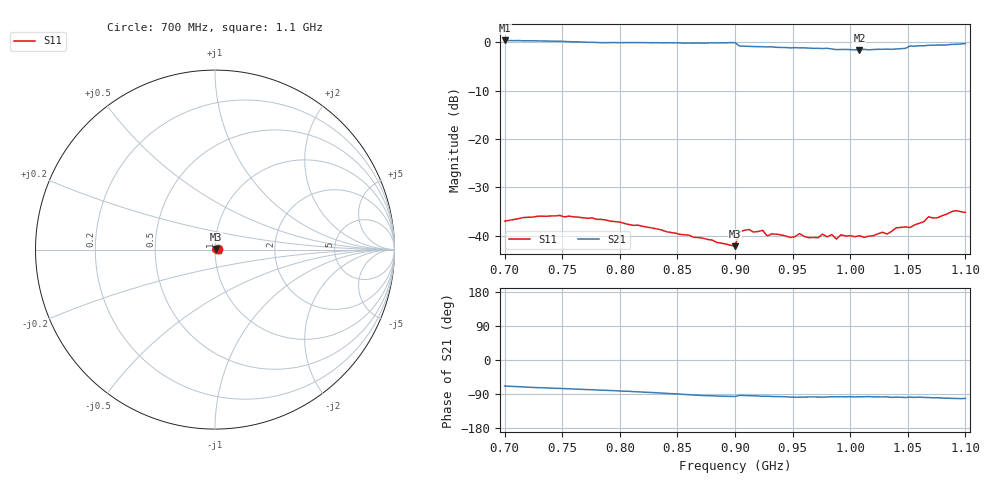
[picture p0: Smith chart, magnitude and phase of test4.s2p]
# HZ S RI R 50
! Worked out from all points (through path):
!   101 points, 700 MHz to 1.1 GHz, reference 50 ohm
!   highest |S21| = 0.42 dB at 700 MHz (marker M1); lowest = -1.5 dB at 1.008 GHz (marker M2)
!   group delay of S21, straight-line fit = 217 ps
!   lowest |S11| = -42.2 dB at 900 MHz (marker M3), VSWR 1.02, Z = 50.7 + j0.346 ohm
!   |S11| at or under -10 dB: start of sweep to end of sweep
!   S12 and S22 are empty: the file has one direction only
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7e8  0.014 0.00185  0.3816 -0.9771  0 0  0 0
7.32e8  0.0117 -0.0109  0.2993 -0.9923  0 0  0 0
7.68e8  -0.00147 -0.0152  0.2169 -0.9858  0 0  0 0
8.36e8  -0.0102 0.00528  0.0475 -0.9909  0 0  0 0
9e8  0.00699 0.00341  -0.1089 -0.9889  0 0  0 0
9.04e8  0.0104 0.00332  -0.0533 -0.9168  0 0  0 0
9.12e8  0.0116 0.000612  -0.0638 -0.9092  0 0  0 0
9.24e8  0.0105 -0.00429  -0.0904 -0.8993  0 0  0 0
9.28e8  0.00889 -0.00443  -0.0876 -0.8942  0 0  0 0
9.48e8  0.00371 -0.00883  -0.1196 -0.8701  0 0  0 0
9.56e8  0.000762 -0.0105  -0.124 -0.8698  0 0  0 0
9.68e8  -0.00309 -0.00907  -0.1124 -0.8615  0 0  0 0
9.76e8  -0.00623 -0.00827  -0.1211 -0.8568  0 0  0 0
9.88e8  -0.00817 -0.00426  -0.1051 -0.8371  0 0  0 0
9.92e8  -0.00958 -0.00354  -0.1004 -0.8401  0 0  0 0
1.008e9  -0.00949 0.0031  -0.1021 -0.8305  0 0  0 0
1.036e9  -0.00221 0.0109  -0.1267 -0.8392  0 0  0 0
1.048e9  0.00301 0.012  -0.1368 -0.8581  0 0  0 0
1.052e9  0.00337 0.0117  -0.1267 -0.9117  0 0  0 0
1.068e9  0.0111 0.011  -0.1463 -0.9232  0 0  0 0
1.092e9  0.0179 0.00307  -0.1923 -0.9377  0 0  0 0
1.1e9  0.0173 -0.00134  -0.1919 -0.9556  0 0  0 0
